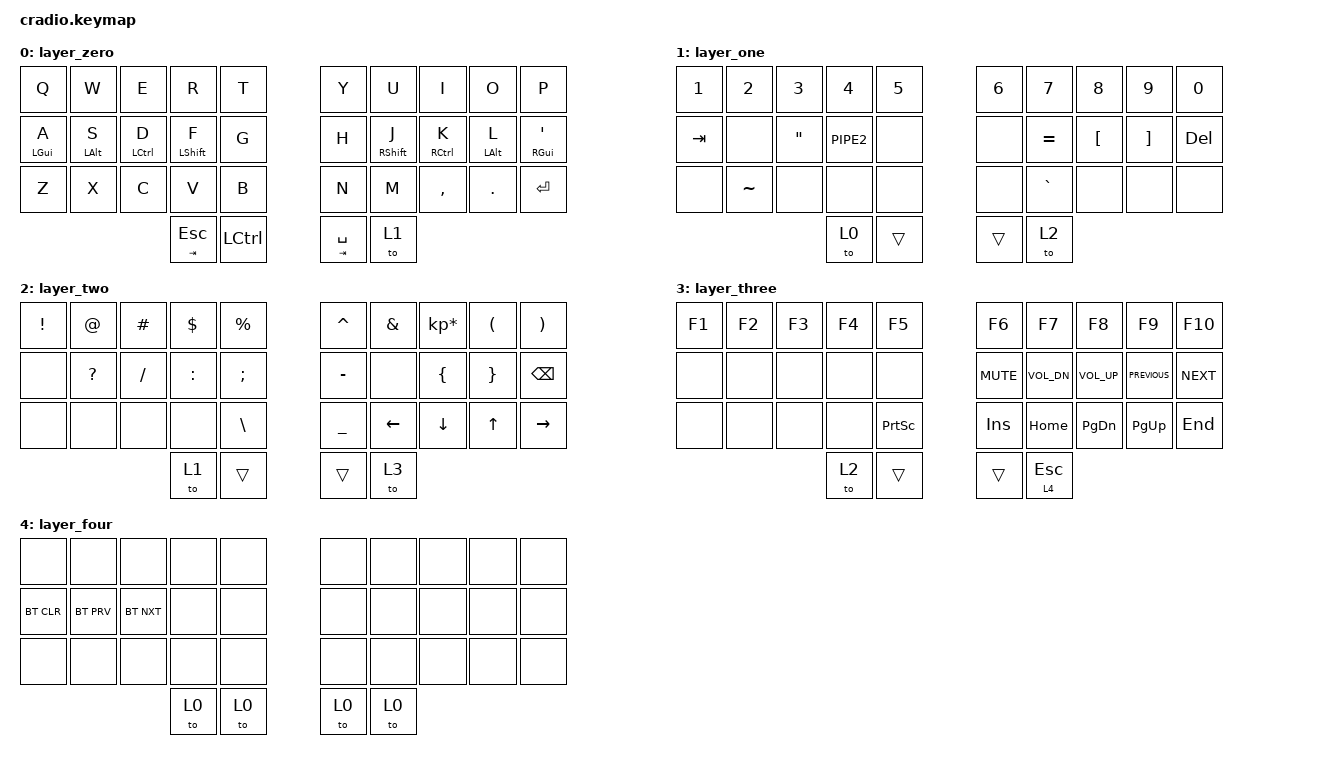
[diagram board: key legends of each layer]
/*
 * Copyright (c) 2020 The ZMK Contributors
 *
 * SPDX-License-Identifier: MIT
 */

#include <behaviors.dtsi>
#include <dt-bindings/zmk/bt.h>
#include <dt-bindings/zmk/keys.h>

&mt {
    //  flavor = "tap-preferred";
    // tapping_term_ms = <200>;
};

/ {
    combos {
        compatible = "zmk,combos";

        combo_F12 {
            timeout-ms = <100>;
            key-positions = <8 9>;
            bindings = <&kp F12>;
            require-prior-idle-ms = <500>;
            layers = <0>;
        };

        combo_reset {
            timeout-ms = <500>;
            key-positions = <3 20 21 22 23 24>;
            bindings = <&sys_reset>;
        };

        combo_bootloader {
            timeout-ms = <2000>;
            key-positions = <0 1 2 3 4 24>;
            bindings = <&bootloader>;
        };

        combo_F11 {
            bindings = <&kp F11>;
            key-positions = <0 1>;
            timeout-ms = <100>;
            layers = <0>;
            require-prior-idle-ms = <500>;
        };
    };

    keymap {
        compatible = "zmk,keymap";

        layer_zero {
            bindings = <
&kp Q           &kp W           &kp E               &kp R             &kp T               &kp Y          &kp U              &kp I                &kp O           &kp P
&mt LEFT_GUI A  &mt LEFT_ALT S  &mt LEFT_CONTROL D  &mt LEFT_SHIFT F  &kp G               &kp H          &mt RIGHT_SHIFT J  &mt RIGHT_CONTROL K  &mt LEFT_ALT L  &mt RIGHT_GUI SQT
&kp Z           &kp X           &kp C               &kp V             &kp B               &kp N          &kp M              &kp COMMA            &kp DOT         &kp ENTER
                                                    &mt TAB ESC       &kp LEFT_CONTROL    &mt TAB SPACE  &to 1
            >;
        };

        layer_one {
            bindings = <
&kp N1   &kp N2     &kp N3   &kp N4     &kp N5    &kp N6  &kp N7     &kp N8    &kp N9    &kp N0
&kp TAB  &none      &kp DQT  &kp PIPE2  &none     &none   &kp EQUAL  &kp LBKT  &kp RBKT  &kp DEL
&none    &kp TILDE  &none    &none      &none     &none   &kp GRAVE  &none     &none     &none
                             &to 0      &trans    &trans  &to 2
            >;
        };

        layer_two {
            bindings = <
&kp EXCL  &kp AT     &kp HASH  &kp DLLR   &kp PRCNT    &kp CARET  &kp AMPS  &kp KP_MULTIPLY  &kp LPAR  &kp RPAR
&none     &kp QMARK  &kp FSLH  &kp COLON  &kp SEMI     &kp MINUS  &none     &kp LBRC         &kp RBRC  &kp BSPC
&none     &none      &none     &none      &kp BSLH     &kp UNDER  &kp LEFT  &kp DOWN         &kp UP    &kp RIGHT
                               &to 1      &trans       &trans     &to 3
            >;
        };

        layer_three {
            bindings = <
&kp F1  &kp F2  &kp F3  &kp F4  &kp F5             &kp F6      &kp F7        &kp F8        &kp F9          &kp F10
&none   &none   &none   &none   &none              &kp C_MUTE  &kp C_VOL_DN  &kp C_VOL_UP  &kp C_PREVIOUS  &kp C_NEXT
&none   &none   &none   &none   &kp PRINTSCREEN    &kp INS     &kp HOME      &kp PG_DN     &kp PG_UP       &kp END
                        &to 2   &trans             &trans      &lt 4 ESC
            >;
        };

        layer_four {
            bindings = <
&none       &none       &none       &none  &none    &none  &none  &none  &none  &none
&bt BT_CLR  &bt BT_PRV  &bt BT_NXT  &none  &none    &none  &none  &none  &none  &none
&none       &none       &none       &none  &none    &none  &none  &none  &none  &none
                                    &to 0  &to 0    &to 0  &to 0
            >;
        };
    };
};
